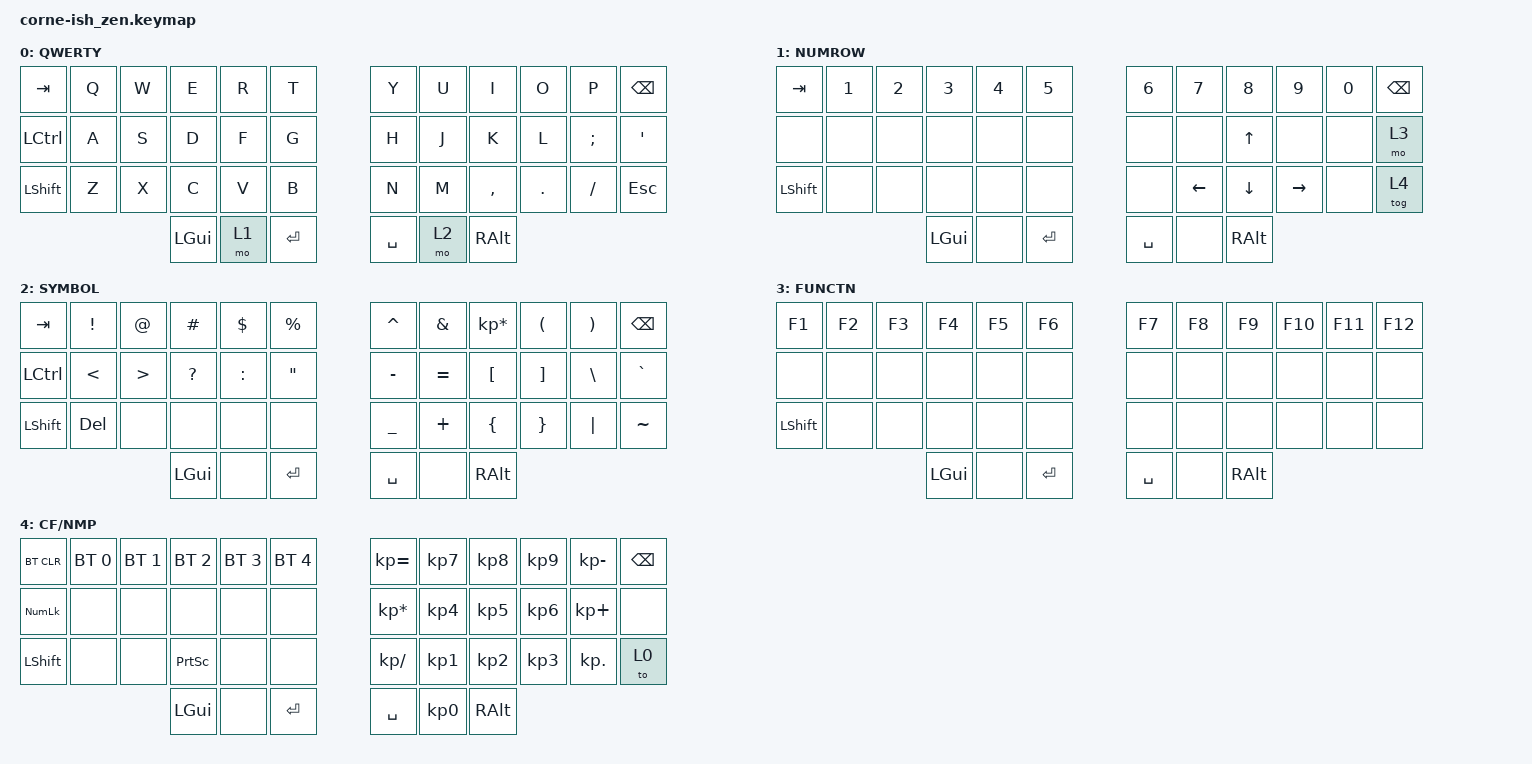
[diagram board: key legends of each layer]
/*
*
* Copyright (c) 2021 Darryl deHaan
* SPDX-License-Identifier: MIT
*
*/

#include <behaviors.dtsi>
#include <dt-bindings/zmk/keys.h>
#include <dt-bindings/zmk/bt.h>

// #define QWERTY 0
// #define NUMROW 1
// #define SYMBOL 2
// #define FUNCTN 3
// #define CF/NMP 4


/ {
        keymap {
                compatible = "zmk,keymap";

                default_layer {
                        label = "QWERTY";
// -----------------------------------------------------------------------------------------
// |  TAB |  Q  |  W  |  E  |  R  |  T  |   |  Y  |  U   |  I  |  O  |  P  | BKSP |
// | CTRL |  A  |  S  |  D  |  F  |  G  |   |  H  |  J   |  K  |  L  |  ;  |  '   |
// | SHFT |  Z  |  X  |  C  |  V  |  B  |   |  N  |  M   |  ,  |  .  |  /  | ESC  |
//                    | GUI | NMR | ENT |   | SPC | SYM  | ALT |
                        bindings = <
   &kp TAB   &kp Q &kp W &kp E    &kp R   &kp T   &kp Y     &kp U  &kp I     &kp O   &kp P    &kp BSPC
   &kp LCTRL &kp A &kp S &kp D    &kp F   &kp G   &kp H     &kp J  &kp K     &kp L   &kp SEMI &kp SQT
   &kp LSHFT &kp Z &kp X &kp C    &kp V   &kp B   &kp N     &kp M  &kp COMMA &kp DOT &kp FSLH &kp ESC
                         &kp LGUI &mo 1   &kp RET &kp SPACE &mo 2  &kp RALT
                        >;
                };
                number_layer {
                        label = "NUMROW";
// -----------------------------------------------------------------------------------------
// |  TAB |  1  |  2  |  3  |  4  |  5  |   |  6  |  7  |  8  |  9  |  0  | BKSP |
// |      |     |     |     |     |     |   |     |     |  UP |     |     | FNCT |
// | SHFT |     |     |     |     |     |   |     | LFT | DWN | RGT |     | CF/NP|
//                    | GUI |     | ENT |   | SPC |     | ALT |
                        bindings = <
   &kp TAB    &kp N1       &kp N2       &kp N3       &kp N4       &kp N5     &kp N6     &kp N7    &kp N8   &kp N9     &kp N0  &kp BSPC
   &none      &none        &none        &none        &none        &none      &none      &none     &kp UP   &none      &none   &mo 3
   &kp LSHFT  &none        &none        &none        &none        &none      &none      &kp LEFT  &kp DOWN &kp RIGHT  &none   &tog 4
                          	        &kp LGUI     &none        &kp RET    &kp SPACE  &none     &kp RALT
                        >;
                };

                symbol_layer {
                        label = "SYMBOL";
// -----------------------------------------------------------------------------------------
// |  TAB |  !  |  @  |  #  |  $  |  %  |   |  ^  |  &  |  *  |  (  |  )  | BKSP |
// | CTRL |  <  |  >  |  ?  |  :  |  "  |   |  -  |  =  |  [  |  ]  |  \  |  `   |
// | SHFT | DEL |     |     |     |     |   |  _  |  +  |  {  |  }  | "|" |  ~   |
//                    | GUI |     | ENT |   | SPC |     | ALT |
                        bindings = <
   &kp  TAB  &kp EXCL &kp AT  &kp HASH  &kp DLLR  &kp PRCNT   &kp CARET &kp AMPS  &kp KP_MULTIPLY &kp LPAR &kp RPAR &kp BSPC
   &kp LCTRL &kp LT   &kp GT  &kp QMARK &kp COLON &kp DQT     &kp MINUS &kp EQUAL &kp LBKT        &kp RBKT &kp BSLH &kp GRAVE
   &kp LSHFT &kp DEL  &none   &none     &none     &none       &kp UNDER &kp PLUS  &kp LBRC        &kp RBRC &kp PIPE &kp TILDE
                    	      &kp LGUI  &none     &kp RET     &kp SPACE &none     &kp RALT
                        >;
                };
                
                function_layer {
                        label = "FUNCTN";
// -----------------------------------------------------------------------------------------
// |  F1  | F2  | F3  | F4  | F5  | F6  |   | F7  | F8  | F9  | F10 | F11 | F12  |
// |      |     |     |     |     |     |   |     |     |     |     |     |      |
// | SHFT |     |     |     |     |     |   |     |     |     |     |     |      |
//                    | GUI |     | ENT |   | SPC |     | ALT |               
                        bindings = <
   &kp F1      &kp F2  &kp F3  &kp F4   &kp F5  &kp F6    &kp F7   &kp F8   &kp F9   &kp F10   &kp F11 &kp F12
   &none       &none   &none   &none    &none   &none     &none    &none    &none    &none     &none   &none
   &kp LSHIFT  &none   &none   &none    &none   &none     &none    &none    &none    &none     &none   &none
                               &kp LGUI &none   &kp RET   &kp SPC  &none    &kp RALT
                  >;
                };
                
                configuration_numpad_layer {
                        label = "CF/NMP";
// -----------------------------------------------------------------------------------------
// | BTCLR| BT1 | BT2 | BT3 | BT4 | BT5 |   |  =  |  7  |  8  |  9  |  -  | BKSP |
// |KPNMLK|     |     |     |     |     |   |  *  |  4  |  5  |  6  |  +  |      |
// | SHFT |     |     |PRSCN|     |     |   |  /  |  1  |  2  |  3  |  .  |QWERTY|
//                    | GUI |     | ENT |   | SPC |  0  | ALT |  
                      bindings = <
   &bt BT_CLR  &bt BT_SEL 0 &bt BT_SEL 1 &bt BT_SEL 2 &bt BT_SEL 3 &bt BT_SEL 4    &kp KP_EQUAL    &kp KP_N7 &kp KP_N8 &kp KP_N9 &kp KP_MINUS &kp BSPC
   &kp KP_NLCK &none        &none        &none        &none        &none           &kp KP_ASTERISK &kp KP_N4 &kp KP_N5 &kp KP_N6 &kp KP_PLUS  &none
   &kp LSHIFT  &none        &none        &kp PSCRN    &none        &none           &kp KP_SLASH    &kp KP_N1 &kp KP_N2 &kp KP_N3 &kp KP_DOT   &to 0
                                         &kp LGUI     &none        &kp RET         &kp SPC         &kp KP_N0 &kp RALT
                   >;
                };                
        };
};
